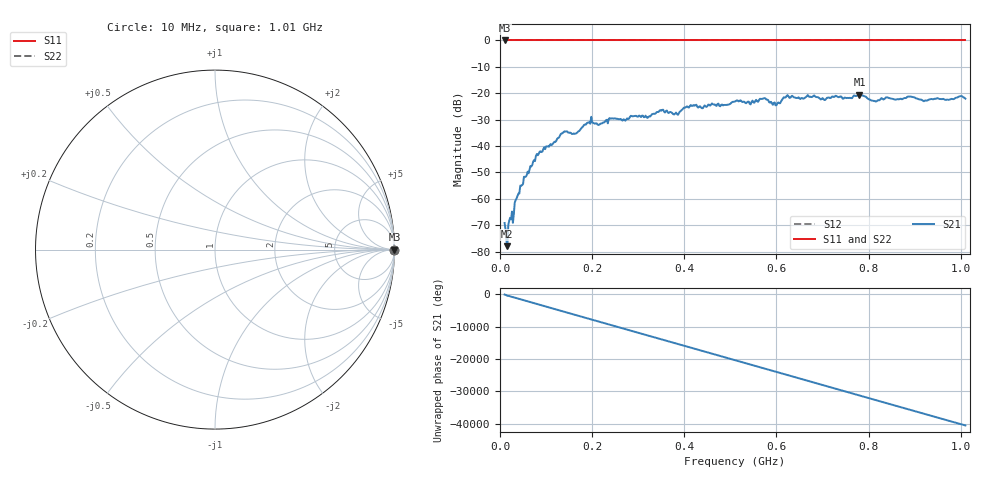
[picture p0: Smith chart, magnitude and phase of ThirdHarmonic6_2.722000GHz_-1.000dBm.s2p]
! 8/17/2025 6:38:42 AM
! C:\ANRITSUVNA\TEMP\TEMP.S2P
! CHANNEL.1
! TR.MEASUREMENT
! RAW.DATA
! RF.CORRECTION.OFF
! AVERAGING.OFF
! IF.BANDWIDTH: 5KHZ
! SWEEPTYPE:  FREQ.SWEEP(Linear)
! Reference Plane Port Info
! PORT:  PORT1  PORT2
! DISTANCE:  0  m  0  m
! TIME:  0  s  0  s
! PHASE.OFFSET:  0  deg.  0  deg.
! LOSS:  0  dB  0  dB
! REF.LOSS:  0  dB  0  dB
! REF.FREQ:  0  Hz  0  Hz
! Power Info
! POWER:  -20  dBm  -20  dBm
! EFF.POWER:  -20  dBm  -20  dBm
! SOURCE.ATTEN:  0  dB  0  dB
! TEST.ATTEN:  0  dB  0  dB
# GHZ S RI R 50.0
! FREQ.GHZ  S11RE  S11IM  S21RE  S21IM  S12RE  S12IM  S22RE  S22IM
!; PortSelection: Port_12
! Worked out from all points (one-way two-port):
!   501 points, 10 MHz to 1.01 GHz, reference 50 ohm
!   highest |S21| = -20.58 dB at 780 MHz (marker M1); lowest = -77.9 dB at 16 MHz (marker M2)
!   lowest |S11| = 0.0 dB at 10 MHz (marker M3)
!   |S11| at or under -10 dB: nowhere
!   |S22| runs from 0.0 to 0.0 dB; largest |S21 - S12| = 1.1
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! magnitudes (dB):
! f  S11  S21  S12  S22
! 10 MHz  0.0  -69.2  0.0  0.0
! 16 MHz  0.0  -77.9  0.0  0.0
! 22 MHz  0.0  -67.2  0.0  0.0
! 48 MHz  0.0  -54.8  0.0  0.0
! 82 MHz  0.0  -43.5  0.0  0.0
! 136 MHz  0.0  -35.1  0.0  0.0
! 162 MHz  0.0  -35.4  0.0  0.0
! 178 MHz  0.0  -32.9  0.0  0.0
! 194 MHz  0.0  -30.9  0.0  0.0
! 216 MHz  0.0  -31.8  0.0  0.0
! 344 MHz  0.0  -27.1  0.0  0.0
! 382 MHz  0.0  -27.3  0.0  0.0
! 416 MHz  0.0  -24.8  0.0  0.0
! 510 MHz  0.0  -23.1  0.0  0.0
! 572 MHz  0.0  -22.0  0.0  0.0
! 596 MHz  0.0  -23.5  0.0  0.0
! 622 MHz  0.0  -21.0  0.0  0.0
! 678 MHz  0.0  -21.4  0.0  0.0
! 780 MHz  0.0  -20.6  0.0  0.0
! 814 MHz  0.0  -23.0  0.0  0.0
! 844 MHz  0.0  -21.8  0.0  0.0
! 1.01 GHz  0.0  -22.1  0.0  0.0
